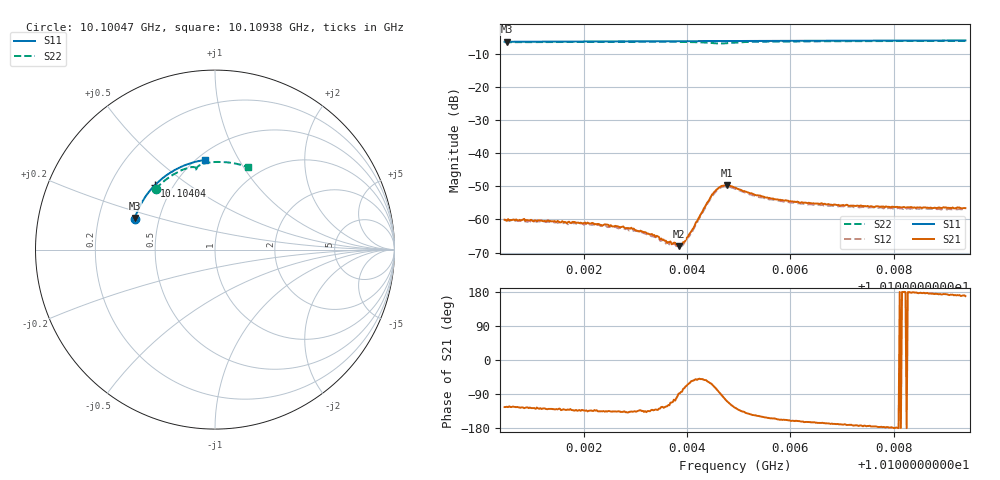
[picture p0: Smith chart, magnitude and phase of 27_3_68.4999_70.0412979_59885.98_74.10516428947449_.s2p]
#  HZ  S  RI  R  50.00
! Rohde & Schwarz Vector Network Analyzer
! Rohde-Schwarz,ZNB20-2Port,1311601062101988,3.16
! Created: UTC 3/20/2024, 5:04:56 PM
! freq[Hz]  re:S11  im:S11  re:S21  im:S21  re:S12  im:S12  re:S22  im:S22
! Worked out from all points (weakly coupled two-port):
!   401 points, 10.10047 GHz to 10.10938 GHz, reference 50 ohm
!   highest |S21| = -49.69 dB at 10.10477 GHz (marker M1); lowest = -68.0 dB at 10.10384 GHz (marker M2)
!   lowest |S11| = -6.4 dB at 10.10052 GHz (marker M3), VSWR 2.85, Z = 18.1 + j8.27 ohm
!   |S11| at or under -10 dB: nowhere
!   |S22| runs from -6.9 to -6.1 dB; largest |S21 - S12| = 0.00033
!   S11 on the Smith chart (normalised r, x): 10.10047 GHz: 0.36, +0.16; 10.10404 GHz: 0.40, +0.37; 10.10938 GHz: 0.55, +0.74
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1.0100474e10  -0.4477 0.1732  -0.000556 -0.00082  -0.000483 -0.000854  -0.33 0.3381
1.0100518e10  -0.4467 0.1756  -0.000528 -0.000798  -0.000475 -0.00085  -0.3282 0.3404
1.0101966e10  -0.4116 0.2566  -0.000587 -0.000658  -0.000542 -0.000683  -0.2573 0.4017
1.0102433e10  -0.397 0.2809  -0.000593 -0.000594  -0.00052 -0.000611  -0.2317 0.4185
1.0102923e10  -0.3803 0.3055  -0.000541 -0.000521  -0.000484 -0.000498  -0.2034 0.4341
1.0103168e10  -0.3714 0.3175  -0.000469 -0.000437  -0.000402 -0.000472  -0.1885 0.4414
1.0103458e10  -0.3604 0.3311  -0.000339 -0.000425  -0.000287 -0.000434  -0.1701 0.449
1.0103658e10  -0.3525 0.3403  -0.000224 -0.000397  -0.000158 -0.000391  -0.1568 0.4537
1.0103836e10  -0.3452 0.3482  7.39e-06 -0.000397  1.63e-05 -0.000405  -0.1442 0.457
1.0103925e10  -0.3415 0.3524  0.000109 -0.000441  0.000144 -0.000392  -0.1375 0.4584
1.0104037e10  -0.3369 0.3572  0.000274 -0.00052  0.000293 -0.000468  -0.129 0.4594
1.0104103e10  -0.3341 0.3602  0.000404 -0.000579  0.000417 -0.000514  -0.1235 0.4598
1.0104415e10  -0.3203 0.3732  0.00101 -0.0016  0.00111 -0.00147  -0.0998 0.4523
1.0104504e10  -0.3165 0.3768  0.000936 -0.00226  0.00109 -0.00208  -0.0966 0.4467
1.0104638e10  -0.3105 0.3822  0.000123 -0.00309  0.000357 -0.00298  -0.0994 0.4411
1.0104771e10  -0.3045 0.3875  -0.00106 -0.0031  -0.000729 -0.00307  -0.1042 0.4456
1.0104927e10  -0.2972 0.3936  -0.00179 -0.00245  -0.0015 -0.00247  -0.1014 0.4565
1.0105261e10  -0.2815 0.4063  -0.00201 -0.00141  -0.00175 -0.00151  -0.0806 0.4723
1.0105573e10  -0.2661 0.4173  -0.00187 -0.00096  -0.00172 -0.00107  -0.0588 0.4798
1.0106419e10  -0.2227 0.4444  -0.00168 -0.000461  -0.00159 -0.000571  -0.0019 0.4878
1.0107911e10  -0.14 0.4801  -0.00155 -4.38e-05  -0.00148 -0.000202  0.0947 0.4826
1.0109381e10  -0.0534 0.4997  -0.00145 0.000292  -0.0014 9.32e-05  0.1853 0.4589
